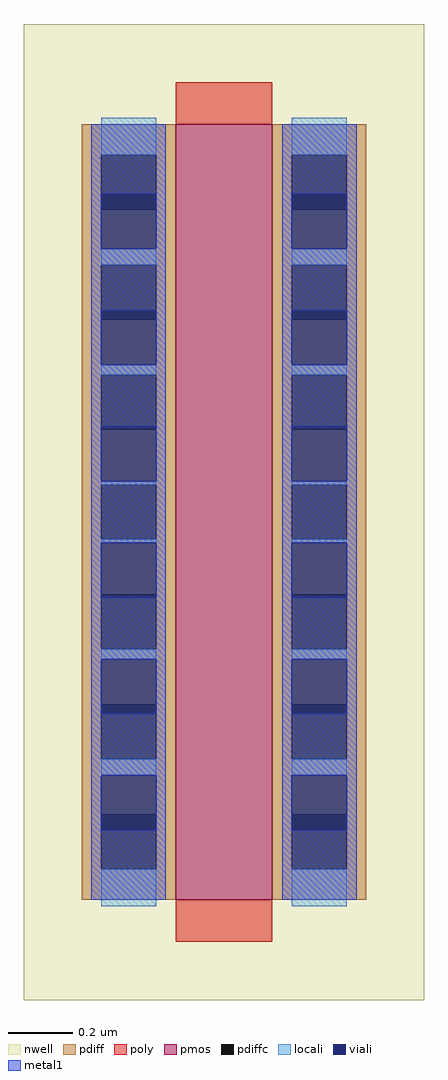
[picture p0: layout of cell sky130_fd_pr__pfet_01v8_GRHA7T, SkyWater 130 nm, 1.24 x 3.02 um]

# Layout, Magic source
magic
tech sky130A
magscale 1 2
<< nwell >>
rect -124 -302 124 302
<< pmos >>
rect -30 -240 30 240
<< pdiff >>
rect -88 221 -30 240
rect -88 187 -76 221
rect -42 187 -30 221
rect -88 153 -30 187
rect -88 119 -76 153
rect -42 119 -30 153
rect -88 85 -30 119
rect -88 51 -76 85
rect -42 51 -30 85
rect -88 17 -30 51
rect -88 -17 -76 17
rect -42 -17 -30 17
rect -88 -51 -30 -17
rect -88 -85 -76 -51
rect -42 -85 -30 -51
rect -88 -119 -30 -85
rect -88 -153 -76 -119
rect -42 -153 -30 -119
rect -88 -187 -30 -153
rect -88 -221 -76 -187
rect -42 -221 -30 -187
rect -88 -240 -30 -221
rect 30 221 88 240
rect 30 187 42 221
rect 76 187 88 221
rect 30 153 88 187
rect 30 119 42 153
rect 76 119 88 153
rect 30 85 88 119
rect 30 51 42 85
rect 76 51 88 85
rect 30 17 88 51
rect 30 -17 42 17
rect 76 -17 88 17
rect 30 -51 88 -17
rect 30 -85 42 -51
rect 76 -85 88 -51
rect 30 -119 88 -85
rect 30 -153 42 -119
rect 76 -153 88 -119
rect 30 -187 88 -153
rect 30 -221 42 -187
rect 76 -221 88 -187
rect 30 -240 88 -221
<< pdiffc >>
rect -76 187 -42 221
rect -76 119 -42 153
rect -76 51 -42 85
rect -76 -17 -42 17
rect -76 -85 -42 -51
rect -76 -153 -42 -119
rect -76 -221 -42 -187
rect 42 187 76 221
rect 42 119 76 153
rect 42 51 76 85
rect 42 -17 76 17
rect 42 -85 76 -51
rect 42 -153 76 -119
rect 42 -221 76 -187
<< poly >>
rect -30 240 30 266
rect -30 -266 30 -240
<< locali >>
rect -76 221 -42 244
rect -76 153 -42 163
rect -76 85 -42 91
rect -76 17 -42 19
rect -76 -19 -42 -17
rect -76 -91 -42 -85
rect -76 -163 -42 -153
rect -76 -244 -42 -221
rect 42 221 76 244
rect 42 153 76 163
rect 42 85 76 91
rect 42 17 76 19
rect 42 -19 76 -17
rect 42 -91 76 -85
rect 42 -163 76 -153
rect 42 -244 76 -221
<< viali >>
rect -76 187 -42 197
rect -76 163 -42 187
rect -76 119 -42 125
rect -76 91 -42 119
rect -76 51 -42 53
rect -76 19 -42 51
rect -76 -51 -42 -19
rect -76 -53 -42 -51
rect -76 -119 -42 -91
rect -76 -125 -42 -119
rect -76 -187 -42 -163
rect -76 -197 -42 -187
rect 42 187 76 197
rect 42 163 76 187
rect 42 119 76 125
rect 42 91 76 119
rect 42 51 76 53
rect 42 19 76 51
rect 42 -51 76 -19
rect 42 -53 76 -51
rect 42 -119 76 -91
rect 42 -125 76 -119
rect 42 -187 76 -163
rect 42 -197 76 -187
<< metal1 >>
rect -82 197 -36 240
rect -82 163 -76 197
rect -42 163 -36 197
rect -82 125 -36 163
rect -82 91 -76 125
rect -42 91 -36 125
rect -82 53 -36 91
rect -82 19 -76 53
rect -42 19 -36 53
rect -82 -19 -36 19
rect -82 -53 -76 -19
rect -42 -53 -36 -19
rect -82 -91 -36 -53
rect -82 -125 -76 -91
rect -42 -125 -36 -91
rect -82 -163 -36 -125
rect -82 -197 -76 -163
rect -42 -197 -36 -163
rect -82 -240 -36 -197
rect 36 197 82 240
rect 36 163 42 197
rect 76 163 82 197
rect 36 125 82 163
rect 36 91 42 125
rect 76 91 82 125
rect 36 53 82 91
rect 36 19 42 53
rect 76 19 82 53
rect 36 -19 82 19
rect 36 -53 42 -19
rect 76 -53 82 -19
rect 36 -91 82 -53
rect 36 -125 42 -91
rect 76 -125 82 -91
rect 36 -163 82 -125
rect 36 -197 42 -163
rect 76 -197 82 -163
rect 36 -240 82 -197
<< end >>
